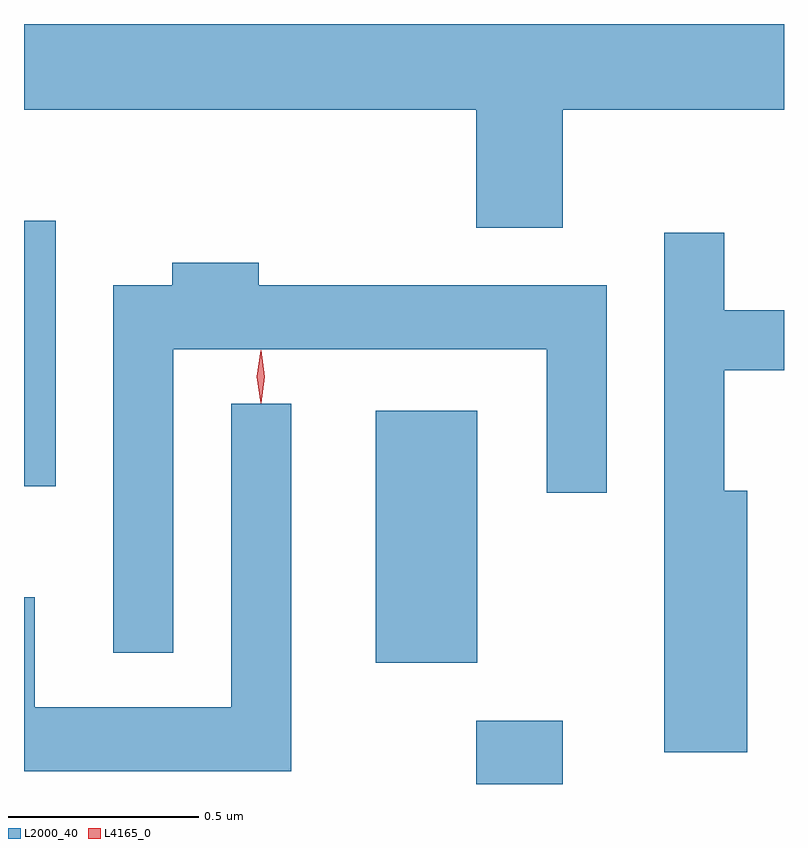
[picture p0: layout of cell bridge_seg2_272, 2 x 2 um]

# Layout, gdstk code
import gdstk
lib = gdstk.Library(unit=1e-6, precision=1e-09)
def R(c, l, rs):  # rectangles x0, y0, x1, y1
    for r in rs: c.add(gdstk.rectangle(r[:2], r[2:], *l))
def P(c, l, *ps):  # polygons
    for p in ps: c.add(gdstk.Polygon(p, *l))
L2000_40 = (2000, 40)
L4165_0 = (4165, 0)

bridge_seg2_272 = lib.new_cell('bridge_seg2_272')
R(bridge_seg2_272, L2000_40, [(637.691,1075.402,637.919,1075.569), (637.426,1075.721,637.694,1076.384), (636.501,1076.186,636.584,1076.884)])
P(bridge_seg2_272, L2000_40, [(637.919,1077.176),(638.501,1077.176),(638.501,1077.402),(636.501,1077.402),(636.501,1077.176),(637.691,1077.176),(637.691,1076.866),(637.919,1076.866)],
  [(638.404,1076.174),(638.344,1076.174),(638.344,1076.491),(638.501,1076.491),(638.501,1076.649),(638.344,1076.649),(638.344,1076.853),(638.186,1076.853),(638.186,1075.486),(638.404,1075.486)],
  [(636.894,1076.546),(637.876,1076.546),(637.876,1076.168),(638.034,1076.168),(638.034,1076.714),(637.119,1076.714),(637.119,1076.774),(636.891,1076.774),(636.891,1076.714),(636.736,1076.714),(636.736,1075.748),(636.894,1075.748)],
  [(637.204,1076.403),(637.046,1076.403),(637.046,1075.604),(636.529,1075.604),(636.529,1075.894),(636.501,1075.894),(636.501,1075.436),(637.204,1075.436)])
P(bridge_seg2_272, L4165_0, [(637.124,1076.404),(637.124,1076.404),(637.114,1076.474),(637.124,1076.543),(637.124,1076.543),(637.125,1076.543),(637.134,1076.474),(637.125,1076.404)])

lib.write_gds('bridge_seg2_272.gds')
